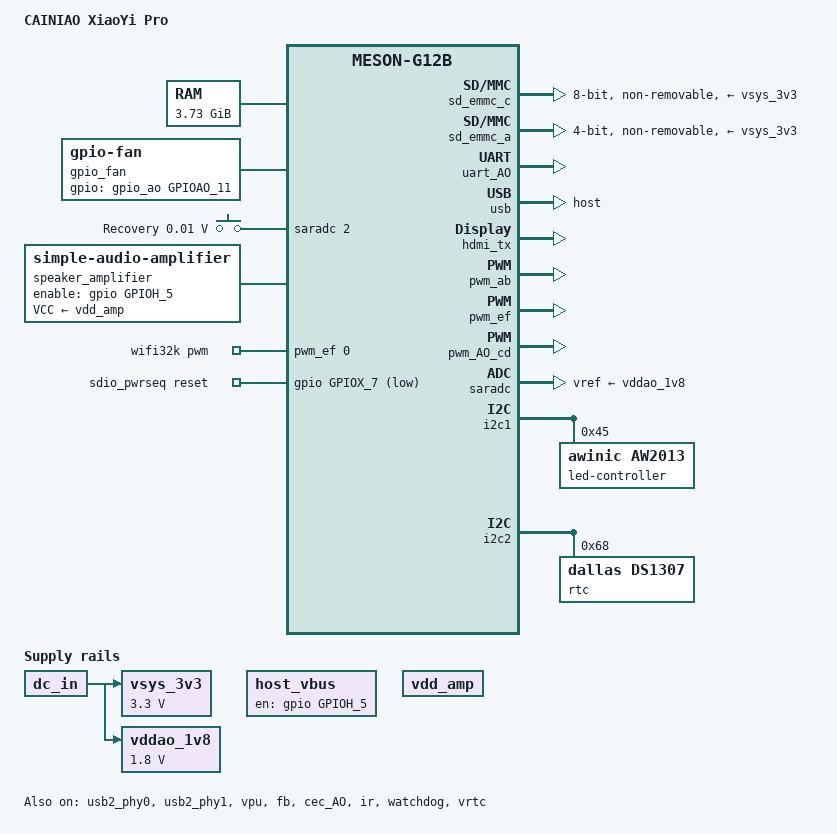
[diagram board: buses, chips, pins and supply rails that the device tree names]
/dts-v1/;

#include "meson-g12b-s922x.dtsi"
#include <dt-bindings/gpio/gpio.h>
#include <dt-bindings/input/input.h>
#include <dt-bindings/interrupt-controller/irq.h>
#include <dt-bindings/interrupt-controller/arm-gic.h>

/ {
    model = "CAINIAO XiaoYi Pro";
    compatible = "cainiao,xiaoyi-pro", "amlogic,s922x";

    chosen {
        bootargs = "root=LABEL=COREELEC rw console=ttyAML0,115200n8 console=tty0 no_console_suspend";
    };

    memory@0 {
        device_type = "memory";
        reg = <0x0 0x0 0x0 0xee6b2800>;
    };

    dc_in: regulator-dc-in {
        compatible = "regulator-fixed";
        regulator-name = "dc_in";
        regulator-always-on;
        regulator-boot-on;
    };

    vsys_3v3: regulator-vsys-3v3 {
        compatible = "regulator-fixed";
        regulator-name = "vsys_3v3";
        regulator-always-on;
        regulator-boot-on;
        regulator-min-microvolt = <3300000>;
        regulator-max-microvolt = <3300000>;
        vin-supply = <&dc_in>;
    };

    vddao_1v8: regulator-vddao-1v8 {
        compatible = "regulator-fixed";
        regulator-name = "vddao_1v8";
        regulator-always-on;
        regulator-boot-on;
        regulator-min-microvolt = <1800000>;
        regulator-max-microvolt = <1800000>;
        vin-supply = <&dc_in>;
    };

    host_vbus: regulator-host-vbus {
        compatible = "regulator-fixed";
        regulator-name = "host_vbus";
        regulator-always-on;
        regulator-boot-on;
        gpio = <&gpio GPIOH_5 GPIO_ACTIVE_HIGH>;
        enable-active-high;
    };

    vdd_amp: regulator-vdd-amp {
        compatible = "regulator-fixed";
        regulator-name = "vdd_amp";
        regulator-always-on;
        regulator-boot-on;
    };

    gpio_fan: gpio-fan {
        compatible = "gpio-fan";
        gpios = <&gpio_ao GPIOAO_11 GPIO_ACTIVE_HIGH>;
        gpio-fan,speed-map = <0 0 3000 1>;
        #cooling-cells = <2>;
    };

    adc_keys: adc-keys {
        compatible = "adc-keys";
        io-channels = <&saradc 2>;
        io-channel-names = "buttons";
        keyup-threshold-microvolt = <1700000>;
        poll-interval = <100>;

        button-recovery {
            label = "Recovery";
            linux,code = <KEY_RESTART>;
            press-threshold-microvolt = <10000>;
        };
    };

    speaker_amplifier: speaker-amplifier {
        compatible = "simple-audio-amplifier";
        sound-name-prefix = "Speaker Amplifier";
        VCC-supply = <&vdd_amp>;
        enable-gpios = <&gpio GPIOH_5 GPIO_ACTIVE_HIGH>;
    };

    wifi32k: wifi32k {
        compatible = "pwm-clock";
        #clock-cells = <0>;
        clock-frequency = <32768>;
        pwms = <&pwm_ef 0 30518 0>;
    };

    sdio_pwrseq: sdio-pwrseq {
        compatible = "mmc-pwrseq-simple";
        clocks = <&wifi32k>;
        clock-names = "ext_clock";
        reset-gpios = <&gpio GPIOX_7 GPIO_ACTIVE_LOW>;
    };
};

/* ===== eMMC ===== */
&sd_emmc_c {
    status = "okay";
    bus-width = <8>;
    non-removable;
    cap-mmc-highspeed;
    mmc-ddr-1_8v;
    mmc-hs200-1_8v;
    max-frequency = <200000000>;
    vmmc-supply = <&vsys_3v3>;
    vqmmc-supply = <&vddao_1v8>;
};

/* ===== SDIO (WiFi) ===== */
&sd_emmc_a {
    status = "okay";
    bus-width = <4>;
    cap-sd-highspeed;
    sd-uhs-ddr50;
    max-frequency = <200000000>;
    non-removable;
    keep-power-in-suspend;
    vmmc-supply = <&vsys_3v3>;
    vqmmc-supply = <&vddao_1v8>;
    mmc-pwrseq = <&sdio_pwrseq>;
};

/* ===== UART ===== */
&uart_AO {
    status = "okay";
};

/* ===== USB ===== */
&usb {
    status = "okay";
    dr_mode = "host";
};

&usb2_phy0 {
    status = "okay";
    phy-supply = <&vsys_3v3>;
};

&usb2_phy1 {
    status = "okay";
    phy-supply = <&host_vbus>;
};

/* ===== 以太网 ===== */
ðmac {
    status = "okay";
    phy-mode = "rgmii";
};

/* ===== HDMI ===== */
&hdmi_tx {
    status = "okay";
};

&vpu {
    status = "okay";
};

&fb {
    status = "okay";
};

/* ===== CEC ===== */
&cec_AO {
    status = "okay";
};

/* ===== IR 红外 ===== */
&ir {
    status = "okay";
};

/* ===== PWM ===== */
&pwm_ab {
    status = "okay";
};

&pwm_ef {
    status = "okay";
};

&pwm_AO_cd {
    status = "okay";
};

/* ===== ADC ===== */
&saradc {
    status = "okay";
    vref-supply = <&vddao_1v8>;
};

/* ===== 看门狗 ===== */
&watchdog {
    status = "okay";
};

/* ===== RTC ===== */
&vrtc {
    status = "okay";
};

/* ===== 温度传感器 - 一次性完整定义 ===== */
&cpu_thermal {
    polling-delay = <1000>;
    polling-delay-passive = <100>;
    
    /* 添加风扇冷却映射，保留基础 dtsi 中已有的 trips */
    cooling-maps {
        fan_map {
            trip = <&cpu_passive>;
            cooling-device = <&gpio_fan 1 1>;
        };
    };
};

/* ===== I2C1: AW2013 LED ===== */
&i2c1 {
    status = "okay";
    led-controller@45 {
        compatible = "awinic,aw2013";
        reg = <0x45>;
        #address-cells = <1>;
        #size-cells = <0>;

        led@0 {
            reg = <0>;
            led-max-microamp = <5000>;
        };

        led@1 {
            reg = <1>;
            led-max-microamp = <5000>;
        };

        led@2 {
            reg = <2>;
            led-max-microamp = <5000>;
        };
    };
};

/* ===== I2C2: DS1307 RTC ===== */
&i2c2 {
    status = "okay";
    rtc@68 {
        compatible = "dallas,ds1307";
        reg = <0x68>;
    };
};
